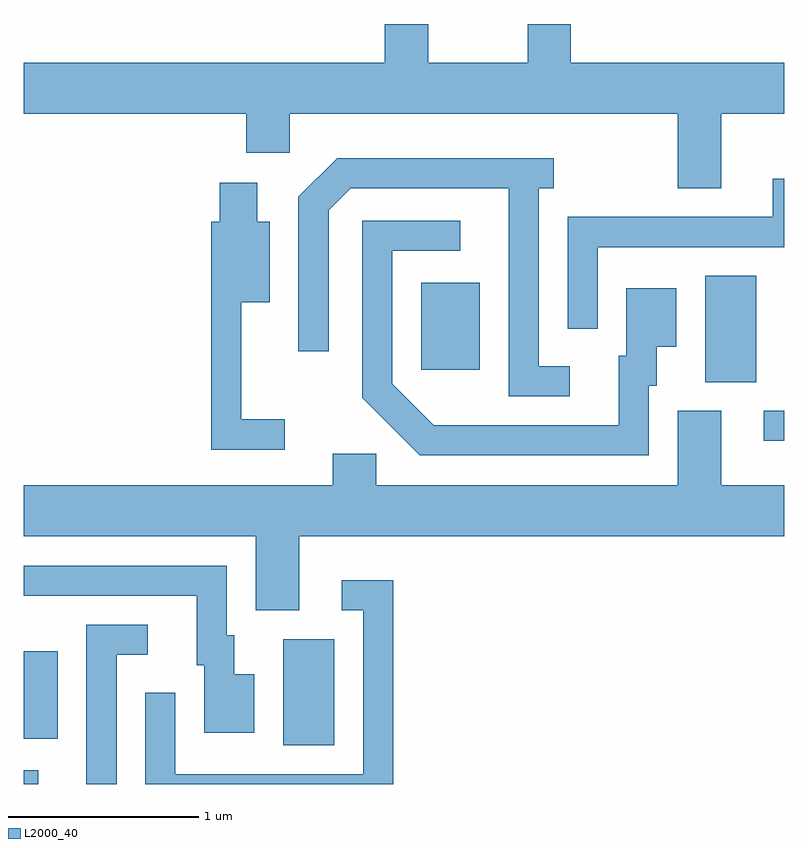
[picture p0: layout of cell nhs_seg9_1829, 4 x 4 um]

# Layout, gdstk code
import gdstk
lib = gdstk.Library(unit=1e-6, precision=1e-09)
def R(c, l, rs):  # rectangles x0, y0, x1, y1
    for r in rs: c.add(gdstk.rectangle(r[:2], r[2:], *l))
def P(c, l, *ps):  # polygons
    for p in ps: c.add(gdstk.Polygon(p, *l))
L2000_40 = (2000, 40)

nhs_seg9_1829 = lib.new_cell('nhs_seg9_1829')
R(nhs_seg9_1829, L2000_40, [(237.611,2070.432,237.688,2070.504), (238.976,2070.636,239.244,2071.194), (237.611,2070.671,237.789,2071.129), (241.503,2072.236,241.611,2072.394), (241.196,2072.546,241.464,2073.104), (239.701,2072.611,240.009,2073.069)])
P(nhs_seg9_1829, L2000_40, [(241.051,2073.566),(241.279,2073.566),(241.279,2073.956),(241.611,2073.956),(241.611,2074.224),(240.489,2074.224),(240.489,2074.429),(240.261,2074.429),(240.261,2074.224),(239.739,2074.224),(239.739,2074.429),(239.511,2074.429),(239.511,2074.224),(237.611,2074.224),(237.611,2073.956),(238.781,2073.956),(238.781,2073.751),(239.009,2073.751),(239.009,2073.956),(241.051,2073.956)],
  [(240.483,2072.629),(240.319,2072.629),(240.319,2073.566),(240.398,2073.566),(240.398,2073.724),(239.259,2073.724),(239.056,2073.521),(239.056,2072.708),(239.214,2072.708),(239.214,2073.449),(239.332,2073.566),(240.161,2073.566),(240.161,2072.471),(240.483,2072.471)],
  [(240.629,2073.256),(241.611,2073.256),(241.611,2073.614),(241.551,2073.614),(241.551,2073.414),(240.471,2073.414),(240.471,2072.827),(240.629,2072.827)],
  [(238.983,2072.349),(238.754,2072.349),(238.754,2072.966),(238.904,2072.966),(238.904,2073.389),(238.839,2073.389),(238.839,2073.594),(238.641,2073.594),(238.641,2073.389),(238.596,2073.389),(238.596,2072.191),(238.983,2072.191)],
  [(240.899,2072.526),(240.939,2072.526),(240.939,2072.731),(241.044,2072.731),(241.044,2073.039),(240.781,2073.039),(240.781,2072.684),(240.741,2072.684),(240.741,2072.319),(239.767,2072.319),(239.549,2072.537),(239.549,2073.236),(239.908,2073.236),(239.908,2073.394),(239.391,2073.394),(239.391,2072.463),(239.694,2072.161),(240.899,2072.161)],
  [(239.059,2071.736),(241.611,2071.736),(241.611,2072.004),(241.279,2072.004),(241.279,2072.394),(241.051,2072.394),(241.051,2072.004),(239.464,2072.004),(239.464,2072.169),(239.236,2072.169),(239.236,2072.004),(237.611,2072.004),(237.611,2071.736),(238.831,2071.736),(238.831,2071.346),(239.059,2071.346)],
  [(238.824,2071.009),(238.719,2071.009),(238.719,2071.214),(238.679,2071.214),(238.679,2071.579),(237.611,2071.579),(237.611,2071.421),(238.521,2071.421),(238.521,2071.056),(238.561,2071.056),(238.561,2070.701),(238.824,2070.701)],
  [(239.554,2071.504),(239.283,2071.504),(239.283,2071.346),(239.396,2071.346),(239.396,2070.484),(238.409,2070.484),(238.409,2070.913),(238.251,2070.913),(238.251,2070.432),(239.554,2070.432)],
  [(238.099,2071.111),(238.263,2071.111),(238.263,2071.269),(237.941,2071.269),(237.941,2070.432),(238.099,2070.432)])

lib.write_gds('nhs_seg9_1829.gds')
